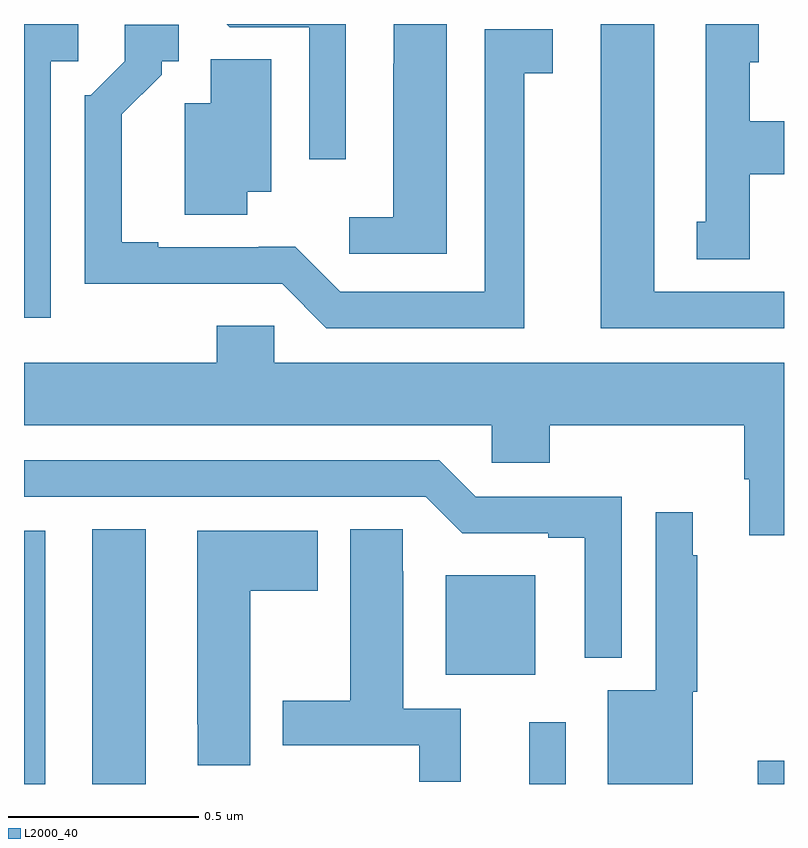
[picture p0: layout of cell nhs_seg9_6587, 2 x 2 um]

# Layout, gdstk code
import gdstk
lib = gdstk.Library(unit=1e-6, precision=1e-09)
def R(c, l, rs):  # rectangles x0, y0, x1, y1
    for r in rs: c.add(gdstk.rectangle(r[:2], r[2:], *l))
def P(c, l, *ps):  # polygons
    for p in ps: c.add(gdstk.Polygon(p, *l))
L2000_40 = (2000, 40)

nhs_seg9_6587 = lib.new_cell('nhs_seg9_6587')
R(nhs_seg9_6587, L2000_40, [(194,1171.5,194.056,1172.166), (194.18,1171.5,194.32,1172.171), (195.329,1171.5,195.426,1171.663), (195.931,1171.5,196,1171.561), (195.11,1171.787,195.346,1172.05)])
P(nhs_seg9_6587, L2000_40, [(196,1172.796),(195.658,1172.796),(195.658,1173.5),(195.518,1173.5),(195.518,1172.7),(196,1172.7)],
  [(195.91,1173.104),(196,1173.104),(196,1173.244),(195.91,1173.244),(195.91,1173.399),(195.934,1173.399),(195.934,1173.5),(195.794,1173.5),(195.794,1172.979),(195.77,1172.979),(195.77,1172.881),(195.91,1172.881)],
  [(194.847,1173.5),(194.533,1173.5),(194.541,1173.492),(194.751,1173.492),(194.751,1173.144),(194.847,1173.144)],
  [(195.112,1173.5),(194.973,1173.5),(194.973,1173.395),(194.972,1173.395),(194.972,1172.992),(194.856,1172.992),(194.856,1172.895),(195.112,1172.895)],
  [(194.07,1173.402),(194.143,1173.402),(194.143,1173.5),(194,1173.5),(194,1172.727),(194.07,1172.727)],
  [(195.316,1173.37),(195.391,1173.37),(195.391,1173.486),(195.212,1173.486),(195.212,1172.796),(194.832,1172.796),(194.714,1172.914),(194.618,1172.914),(194.618,1172.913),(194.353,1172.913),(194.353,1172.926),(194.257,1172.926),(194.257,1173.262),(194.362,1173.367),(194.362,1173.402),(194.407,1173.402),(194.407,1173.498),(194.265,1173.498),(194.265,1173.402),(194.175,1173.312),(194.16,1173.312),(194.16,1172.816),(194.423,1172.816),(194.423,1172.817),(194.679,1172.817),(194.796,1172.7),(195.316,1172.7)],
  [(194.587,1173.059),(194.65,1173.059),(194.65,1173.407),(194.492,1173.407),(194.492,1173.292),(194.423,1173.292),(194.423,1172.998),(194.587,1172.998)],
  [(196,1172.608),(194.658,1172.608),(194.658,1172.706),(194.507,1172.706),(194.507,1172.608),(194,1172.608),(194,1172.444),(195.231,1172.444),(195.231,1172.346),(195.383,1172.346),(195.383,1172.444),(195.896,1172.444),(195.896,1172.302),(195.908,1172.302),(195.908,1172.154),(196,1172.154)],
  [(195.573,1172.256),(195.189,1172.256),(195.093,1172.352),(194,1172.352),(194,1172.256),(195.057,1172.256),(195.153,1172.16),(195.38,1172.16),(195.38,1172.148),(195.476,1172.148),(195.476,1171.832),(195.573,1171.832)],
  [(195.76,1171.743),(195.772,1171.743),(195.772,1172.102),(195.76,1172.102),(195.76,1172.215),(195.663,1172.215),(195.663,1171.747),(195.536,1171.747),(195.536,1171.5),(195.76,1171.5)],
  [(195.149,1171.698),(194.998,1171.698),(194.998,1172.06),(194.997,1172.06),(194.997,1172.171),(194.858,1172.171),(194.858,1171.719),(194.681,1171.719),(194.681,1171.602),(195.04,1171.602),(195.04,1171.506),(195.149,1171.506)],
  [(194.596,1172.008),(194.773,1172.008),(194.773,1172.167),(194.456,1172.167),(194.456,1171.657),(194.457,1171.657),(194.457,1171.549),(194.596,1171.549)])

lib.write_gds('nhs_seg9_6587.gds')
